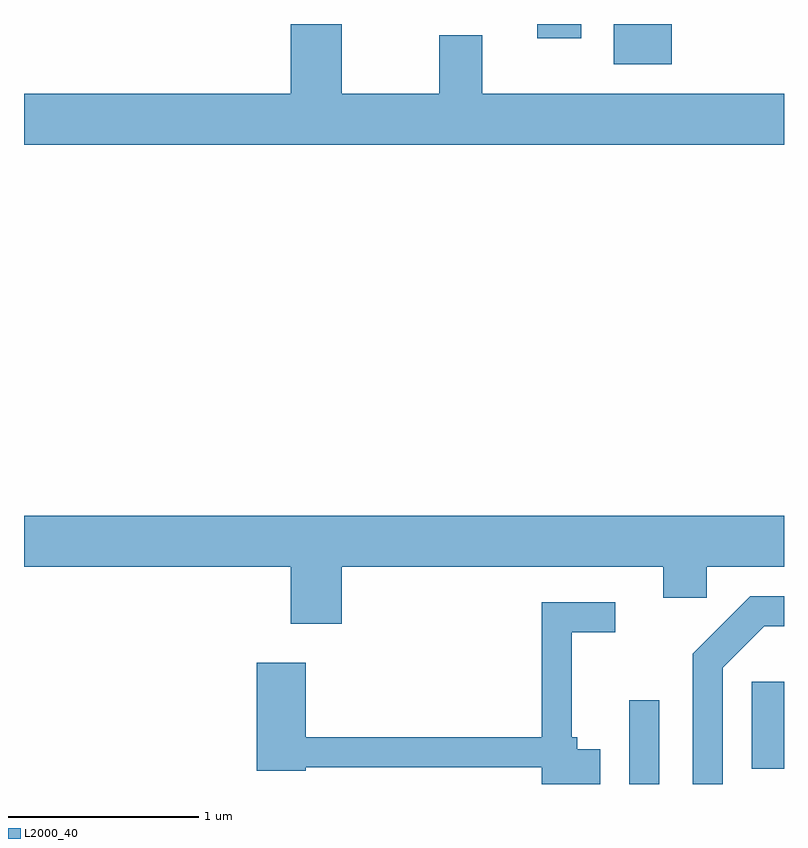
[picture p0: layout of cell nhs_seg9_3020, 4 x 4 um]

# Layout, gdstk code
import gdstk
lib = gdstk.Library(unit=1e-6, precision=1e-09)
def R(c, l, rs):  # rectangles x0, y0, x1, y1
    for r in rs: c.add(gdstk.rectangle(r[:2], r[2:], *l))
def P(c, l, *ps):  # polygons
    for p in ps: c.add(gdstk.Polygon(p, *l))
L2000_40 = (2000, 40)

nhs_seg9_3020 = lib.new_cell('nhs_seg9_3020')
R(nhs_seg9_3020, L2000_40, [(276.796,2008.432,276.954,2008.873), (277.441,2008.511,277.611,2008.969), (276.716,2012.221,277.019,2012.432), (276.311,2012.356,276.544,2012.432)])
P(nhs_seg9_3020, L2000_40, [(277.611,2012.064),(276.024,2012.064),(276.024,2012.374),(275.796,2012.374),(275.796,2012.064),(275.284,2012.064),(275.284,2012.432),(275.016,2012.432),(275.016,2012.064),(273.611,2012.064),(273.611,2011.796),(277.611,2011.796)],
  [(275.284,2009.576),(276.976,2009.576),(276.976,2009.411),(277.204,2009.411),(277.204,2009.576),(277.611,2009.576),(277.611,2009.844),(273.611,2009.844),(273.611,2009.576),(275.016,2009.576),(275.016,2009.276),(275.284,2009.276)],
  [(277.289,2009.044),(277.507,2009.261),(277.611,2009.261),(277.611,2009.419),(277.434,2009.419),(277.131,2009.117),(277.131,2008.432),(277.289,2008.432)],
  [(276.644,2008.614),(276.524,2008.614),(276.524,2008.679),(276.494,2008.679),(276.494,2009.231),(276.723,2009.231),(276.723,2009.389),(276.336,2009.389),(276.336,2008.679),(275.094,2008.679),(275.094,2009.069),(274.836,2009.069),(274.836,2008.501),(275.094,2008.501),(275.094,2008.521),(276.336,2008.521),(276.336,2008.432),(276.644,2008.432)])

lib.write_gds('nhs_seg9_3020.gds')
